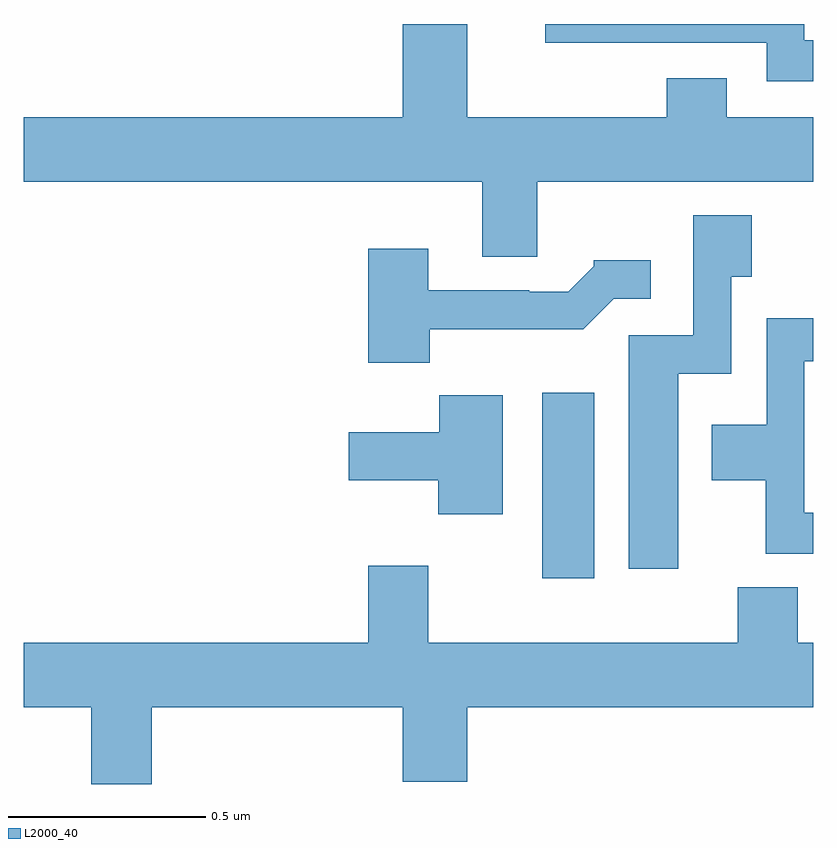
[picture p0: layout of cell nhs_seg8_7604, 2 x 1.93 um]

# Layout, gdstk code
import gdstk
lib = gdstk.Library(unit=1e-6, precision=1e-09)
def R(c, l, rs):  # rectangles x0, y0, x1, y1
    for r in rs: c.add(gdstk.rectangle(r[:2], r[2:], *l))
def P(c, l, *ps):  # polygons
    for p in ps: c.add(gdstk.Polygon(p, *l))
L2000_40 = (2000, 40)

nhs_seg8_7604 = lib.new_cell('nhs_seg8_7604')
R(nhs_seg8_7604, L2000_40, [(213.314,1115.496,213.445,1115.965)])
P(nhs_seg8_7604, L2000_40, [(212.96,1116.9),(212.96,1116.664),(212,1116.664),(212,1116.5),(213.161,1116.5),(213.161,1116.31),(213.301,1116.31),(213.301,1116.5),(214,1116.5),(214,1116.664),(213.781,1116.664),(213.781,1116.763),(213.629,1116.763),(213.629,1116.664),(213.124,1116.664),(213.124,1116.9)],
  [(214,1116.859),(213.978,1116.859),(213.978,1116.9),(213.321,1116.9),(213.321,1116.852),(213.882,1116.852),(213.882,1116.755),(214,1116.755)],
  [(213.658,1116.014),(213.792,1116.014),(213.792,1116.259),(213.845,1116.259),(213.845,1116.415),(213.696,1116.415),(213.696,1116.111),(213.533,1116.111),(213.533,1115.52),(213.658,1115.52)],
  [(213.028,1116.126),(213.417,1116.126),(213.495,1116.204),(213.589,1116.204),(213.589,1116.301),(213.444,1116.301),(213.444,1116.286),(213.38,1116.222),(213.281,1116.222),(213.281,1116.225),(213.025,1116.225),(213.025,1116.331),(212.873,1116.331),(212.873,1116.041),(213.028,1116.041)],
  [(214,1115.662),(213.978,1115.662),(213.978,1116.045),(214,1116.045),(214,1116.154),(213.882,1116.154),(213.882,1115.884),(213.743,1115.884),(213.743,1115.744),(213.88,1115.744),(213.88,1115.558),(214,1115.558)],
  [(213.214,1115.959),(213.052,1115.959),(213.052,1115.866),(212.823,1115.866),(212.823,1115.744),(213.05,1115.744),(213.05,1115.658),(213.214,1115.658)],
  [(212.324,1115.168),(212.96,1115.168),(212.96,1114.98),(213.124,1114.98),(213.124,1115.168),(214,1115.168),(214,1115.332),(213.961,1115.332),(213.961,1115.473),(213.809,1115.473),(213.809,1115.332),(213.025,1115.332),(213.025,1115.527),(212.873,1115.527),(212.873,1115.332),(212,1115.332),(212,1115.168),(212.171,1115.168),(212.171,1114.974),(212.324,1114.974)])

lib.write_gds('nhs_seg8_7604.gds')
